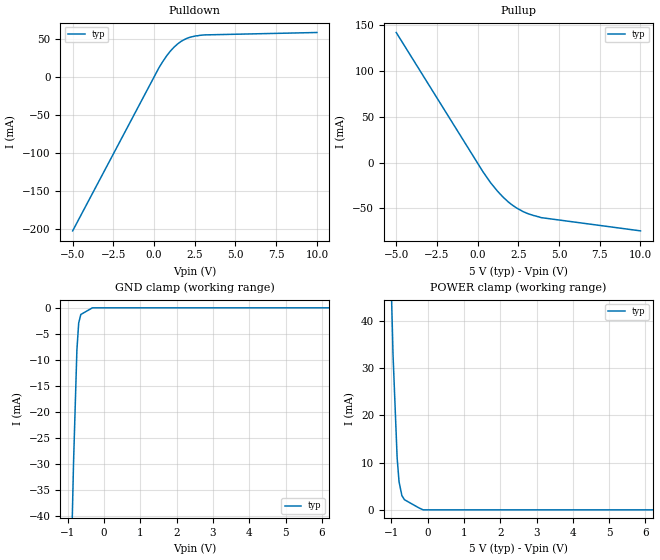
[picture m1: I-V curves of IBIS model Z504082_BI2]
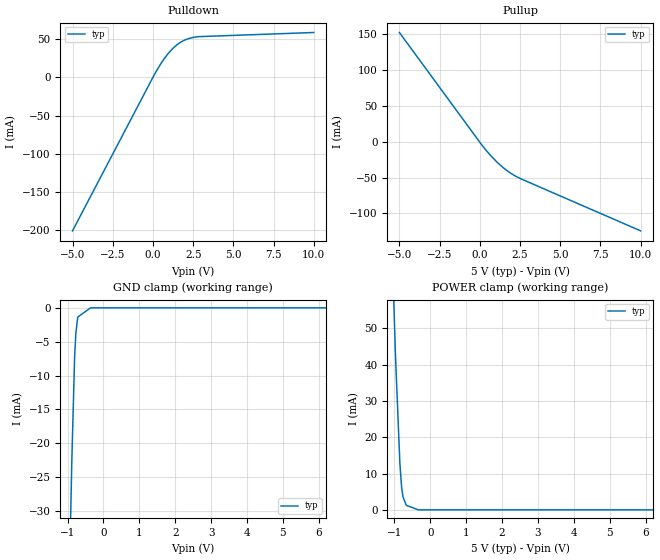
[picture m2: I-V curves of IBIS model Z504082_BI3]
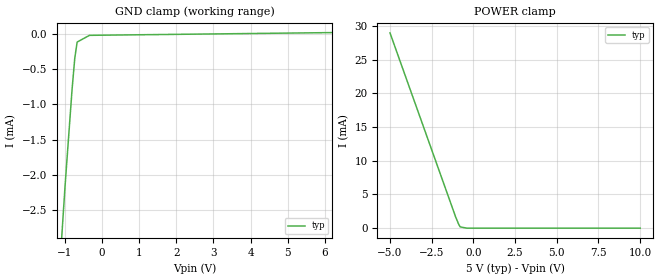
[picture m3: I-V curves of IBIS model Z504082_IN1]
| YOU ARE ONLY AUTHORIZED TO USE THIS SOFTWARE
| ACCORDING TO LICENSOR'S LICENSE RESTRICTIONS.
[IBIS Ver] 3.1
[File Name] mc54hc245aj.ibs
[File Rev] 2.0
[Source] Measured and created by ICX Technology
[Date] Friday 7/14/00 9:08:06 AM
[Copyright]
| (C) COPYRIGHT 1993-2000
| MENTOR GRAPHICS CORPORATION
| ICX STANDARD LIBRARY, ICX PROJECT MODELING,
| ICX CUSTOM MODELING, ICX VENDOR MODEL
| ALL RIGHTS RESERVED.
| THE FOLLOWING ARE TRADEMARKS OR SERVICE MARKS OF
| MENTOR GRAPHICS CORPORATION:ICX (R), ICX STANDARD
| LIBRARY(R), ICX PROJECT MODELING(R), ICX CUSTOM
| MODELING(R), qualityIBIS(TM), MODELVIEWER(TM),
| AND MODELEDITOR(TM)
| ALL COPIES OF SOFTWARE, INCLUDING BUT NOT LIMITED TO
| ANY MODIFICATIONS, ENHANCEMENTS OR DERIVATIVE WORKS,
| MUST CONTAIN ALL MENTOR GRAPHICS CORPORATION'S
| NOTICES AND LEGENDS, INCLUDING THOSE EMBEDDED IN
| SOFTWARE AND THOSE AFFIXED TO SOFTWARE MEDIUM
| AND CONTAINER, AS RECEIVED FROM MENTOR GRAPHICS
| CORPORATION.
|  ZAP Model Builder 2.7
[Component] MC54HC245AJ
[Manufacturer] OnSemiconductor
[Package]
| variable   typ   min   max
R_pkg  .216ohms NA NA
L_pkg  5.76nH NA NA
C_pkg  2.193pF NA NA
[Pin] signal_name  model_name  R_pin  L_pin C_pin
1 DIR Z504082_IN1 .232 9.76n 3.179p
2 A0 Z504082_BI2 .224 7.26n 2.686p
3 A1 Z504082_BI2 .216 5.26n 2.193p
4 A2 Z504082_BI2 .208 3.76n 1.7p
5 A3 Z504082_BI2 .2 2.76n 1.207p
6 A4 Z504082_BI2 .2 2.76n 1.207p
7 A5 Z504082_BI2 .208 3.76n 1.7p
8 A6 Z504082_BI2 .216 5.26n 2.193p
9 A7 Z504082_BI2 .224 7.26n 2.686p
10 GND GND .232 9.76n 3.179p
11 B7 Z504082_BI3 .232 9.76n 3.179p
12 B6 Z504082_BI3 .224 7.26n 2.686p
13 B5 Z504082_BI3 .216 5.26n 2.193p
14 B4 Z504082_BI3 .208 3.76n 1.7p
15 B3 Z504082_BI3 .2 2.76n 1.207p
16 B2 Z504082_BI3 .2 2.76n 1.207p
17 B1 Z504082_BI3 .208 3.76n 1.7p
18 B0 Z504082_BI3 .216 5.26n 2.193p
19 _G Z504082_IN4 .224 7.26n 2.686p
20 VCC POWER .232 9.76n 3.179p
| Models and submodels in the file (4): Z504082_BI2 (I/O), Z504082_BI3 (I/O), Z504082_IN1 (Input), Z504082_IN4 (Input)
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| (C) COPYRIGHT 1993-2000
| MENTOR GRAPHICS CORPORATION
| ICX STANDARD LIBRARY, ICX PROJECT MODELING,
| ICX CUSTOM MODELING, ICX VENDOR MODEL
| ALL RIGHTS RESERVED.
| THE FOLLOWING ARE TRADEMARKS OR SERVICE MARKS OF
| MENTOR GRAPHICS CORPORATION:ICX (R), ICX STANDARD
| LIBRARY(R), ICX PROJECT MODELING(R), ICX CUSTOM
| MODELING(R), qualityIBIS(TM), MODELVIEWER(TM),
| AND MODELEDITOR(TM)
| ALL COPIES OF SOFTWARE, INCLUDING BUT NOT LIMITED TO
| ANY MODIFICATIONS, ENHANCEMENTS OR DERIVATIVE WORKS,
| MUST CONTAIN ALL MENTOR GRAPHICS CORPORATION'S
| NOTICES AND LEGENDS, INCLUDING THOSE EMBEDDED IN
| SOFTWARE AND THOSE AFFIXED TO SOFTWARE MEDIUM
| AND CONTAINER, AS RECEIVED FROM MENTOR GRAPHICS
| CORPORATION.
| Model Application Version 1.89 2/18/99.
[Model] Z504082_BI2
Model_type I/O
Vinl=1.000V
Vinh=3.500V
Vref=0.000V
Rref=500.0Mohms
Cref=50.00pF
Vmeas=2.500V
C_comp 8.000pF NA NA
| variable typ   min   max
[Voltage Range] 5.000V NA NA
[POWER Clamp Reference] 5.000V NA NA
[Pullup Reference] 5.000V NA NA
[Pulldown Reference] 0.000V NA NA
[GND Clamp Reference] 0.000V NA NA
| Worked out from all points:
|   slope of the pulldown table from 0 to 0.75 V, typ, clamps not added: 27.7 ohm
|   slope of the pullup table from 0 to 0.75 V, typ, clamps not added: 37.2 ohm
[GND Clamp]
-5V       -1.297A    NA         NA
-839.8mV  -29.81mA   NA         NA
-747.1mV  -8.11mA    NA         NA
-698.1mV  -2.943mA   NA         NA
-639.1mV  -1.28mA    NA         NA
-319.6mV  0A         NA         NA
10V       0A         NA         NA
[Pulldown]
-5V       -202.5mA   NA         NA
293.1mV   11.64mA    NA         NA
757.5mV   27.1mA     NA         NA
991mV     33.54mA    NA         NA
1.457V    43.36mA    NA         NA
1.813V    48.42mA    NA         NA
2.145V    51.52mA    NA         NA
3.024V    54.92mA    NA         NA
10V       58.2mA     NA         NA
[Pullup]
-5V       141.9mA    NA         NA
313mV     -9.694mA   NA         NA
778mV     -21.63mA   NA         NA
1.207V    -31.04mA   NA         NA
1.89V     -43.13mA   NA         NA
2.385V    -49.56mA   NA         NA
2.802V    -53.64mA   NA         NA
3.889V    -60.11mA   NA         NA
10V       -74.58mA   NA         NA
[POWER Clamp]
-5V       1.516A     NA         NA
-1.099V   76.92mA    NA         NA
-952mV    32.87mA    NA         NA
-838mV    10.93mA    NA         NA
-786mV    5.956mA    NA         NA
-708mV    3.011mA    NA         NA
-635mV    2.133mA    NA         NA
-249mV    457.4uA    NA         NA
-124.5mV  0A         NA         NA
10V       0A         NA         NA
[Ramp]
| variable typ min max
dV/dt_r 2.815/2.394n NA NA
dV/dt_f 2.815/2.299n NA NA
R_load = 500.0Ohms
| (C) COPYRIGHT 1993-2000
| MENTOR GRAPHICS CORPORATION
| ICX STANDARD LIBRARY, ICX PROJECT MODELING,
| ICX CUSTOM MODELING, ICX VENDOR MODEL
| ALL RIGHTS RESERVED.
| THE FOLLOWING ARE TRADEMARKS OR SERVICE MARKS OF
| MENTOR GRAPHICS CORPORATION:ICX (R), ICX STANDARD
| LIBRARY(R), ICX PROJECT MODELING(R), ICX CUSTOM
| MODELING(R), qualityIBIS(TM), MODELVIEWER(TM),
| AND MODELEDITOR(TM)
| ALL COPIES OF SOFTWARE, INCLUDING BUT NOT LIMITED TO
| ANY MODIFICATIONS, ENHANCEMENTS OR DERIVATIVE WORKS,
| MUST CONTAIN ALL MENTOR GRAPHICS CORPORATION'S
| NOTICES AND LEGENDS, INCLUDING THOSE EMBEDDED IN
| SOFTWARE AND THOSE AFFIXED TO SOFTWARE MEDIUM
| AND CONTAINER, AS RECEIVED FROM MENTOR GRAPHICS
| CORPORATION.
| Model Application Version 1.89 2/18/99.
[Model] Z504082_BI3
Model_type I/O
Vinl=1.000V
Vinh=3.500V
Vref=0.000V
Rref=500.0Mohms
Cref=50.00pF
Vmeas=2.500V
C_comp 8.000pF NA NA
| variable typ   min   max
[Voltage Range] 5.000V NA NA
[POWER Clamp Reference] 5.000V NA NA
[Pullup Reference] 5.000V NA NA
[Pulldown Reference] 0.000V NA NA
[GND Clamp Reference] 0.000V NA NA
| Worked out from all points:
|   slope of the pulldown table from 0 to 0.75 V, typ, clamps not added: 29.2 ohm
|   slope of the pullup table from 0 to 0.75 V, typ, clamps not added: 37 ohm
[GND Clamp]
-5V       -1.083A    NA         NA
-884.6mV  -22.93mA   NA         NA
-805.2mV  -7.351mA   NA         NA
-771.4mV  -3.815mA   NA         NA
-717.7mV  -1.367mA   NA         NA
-358.9mV  0A         NA         NA
10V       0A         NA         NA
[Pulldown]
-5V       -200.5mA   NA         NA
102.6mV   3.967mA    NA         NA
449.8mV   16.22mA    NA         NA
910.9mV   30.07mA    NA         NA
1.517V    42.8mA     NA         NA
1.973V    48.51mA    NA         NA
2.762V    52.93mA    NA         NA
10V       58.39mA    NA         NA
[Pullup]
-5V       151.8mA    NA         NA
122mV     -4.604mA   NA         NA
391mV     -12.15mA   NA         NA
662mV     -19.11mA   NA         NA
1.07V     -28.59mA   NA         NA
1.48V     -36.67mA   NA         NA
1.677V    -40.1mA    NA         NA
1.953V    -44.43mA   NA         NA
2.168V    -47.36mA   NA         NA
2.5V      -51.27mA   NA         NA
10V       -124.2mA   NA         NA
[POWER Clamp]
-5V       1.324A     NA         NA
-974mV    42.82mA    NA         NA
-850mV    12.8mA     NA         NA
-801mV    6.116mA    NA         NA
-763mV    3.566mA    NA         NA
-669mV    1.236mA    NA         NA
-334.5mV  0A         NA         NA
10V       0A         NA         NA
[Ramp]
| variable typ min max
dV/dt_r 2.822/2.190n NA NA
dV/dt_f 2.822/1.771n NA NA
R_load = 500.0Ohms
| (C) COPYRIGHT 1993-2000
| MENTOR GRAPHICS CORPORATION
| ICX STANDARD LIBRARY, ICX PROJECT MODELING,
| ICX CUSTOM MODELING, ICX VENDOR MODEL
| ALL RIGHTS RESERVED.
| THE FOLLOWING ARE TRADEMARKS OR SERVICE MARKS OF
| MENTOR GRAPHICS CORPORATION:ICX (R), ICX STANDARD
| LIBRARY(R), ICX PROJECT MODELING(R), ICX CUSTOM
| MODELING(R), qualityIBIS(TM), MODELVIEWER(TM),
| AND MODELEDITOR(TM)
| ALL COPIES OF SOFTWARE, INCLUDING BUT NOT LIMITED TO
| ANY MODIFICATIONS, ENHANCEMENTS OR DERIVATIVE WORKS,
| MUST CONTAIN ALL MENTOR GRAPHICS CORPORATION'S
| NOTICES AND LEGENDS, INCLUDING THOSE EMBEDDED IN
| SOFTWARE AND THOSE AFFIXED TO SOFTWARE MEDIUM
| AND CONTAINER, AS RECEIVED FROM MENTOR GRAPHICS
| CORPORATION.
| Model Application Version 1.89 2/18/99.
[Model] Z504082_IN1
Model_type Input
Vinl = 1.000V
Vinh = 3.500V
C_comp 4.000pF NA NA
| variable typ   min   max
[Voltage Range] 5.000V NA NA
[GND Clamp Reference] 0.000V NA NA
[POWER Clamp Reference] 5.000V NA NA
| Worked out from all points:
|   GND clamp passes 1 mA (typ) near -0.83 V on its own axis
|   POWER clamp passes 1 mA (typ) near -0.95 V on its own axis
[GND Clamp]
-5V       -34.52mA   NA         NA
-986.3mV  -2.137mA   NA         NA
-800.5mV  -790.8uA   NA         NA
-727.1mV  -346uA     NA         NA
-664.1mV  -119.3uA   NA         NA
-332mV    -24.19uA   NA         NA
10V       37.29uA    NA         NA
[POWER Clamp]
-5V       29mA       NA         NA
-1.055V   1.603mA    NA         NA
-884mV    587.7uA    NA         NA
-790mV    191.7uA    NA         NA
-395mV    0A         NA         NA
10V       0A         NA         NA
